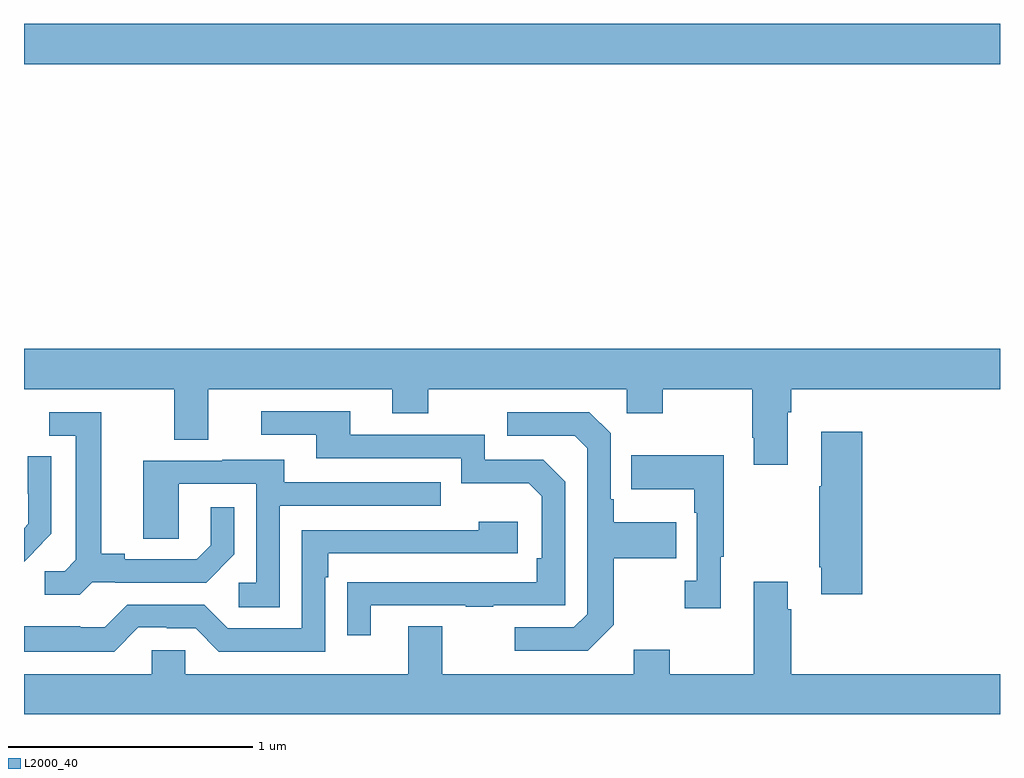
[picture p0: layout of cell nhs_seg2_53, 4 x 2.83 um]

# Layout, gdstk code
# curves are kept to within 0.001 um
import gdstk
lib = gdstk.Library(unit=1e-6, precision=1e-09)
def R(c, l, rs):  # rectangles x0, y0, x1, y1
    for r in rs: c.add(gdstk.rectangle(r[:2], r[2:], *l))
def P(c, l, *ps):  # polygons
    for p in ps: c.add(gdstk.Polygon(p, *l))
L2000_40 = (2000, 40)

nhs_seg2_53 = lib.new_cell('nhs_seg2_53')
R(nhs_seg2_53, L2000_40, [(113,613.004,117,613.168)])
P(nhs_seg2_53, L2000_40, [(116.131,611.576),(116.144,611.576),(116.144,611.672),(117,611.672),(117,611.836),(113,611.836),(113,611.672),(113.615,611.672),(113.615,611.464),(113.755,611.464),(113.755,611.672),(114.509,611.672),(114.509,611.573),(114.657,611.573),(114.657,611.672),(115.47,611.672),(115.47,611.573),(115.617,611.573),(115.617,611.672),(115.984,611.672),(115.984,611.473),(115.991,611.473),(115.991,611.361),(116.131,611.361)],
  [(114.421,610.785),(114.811,610.785),(114.811,610.78),(114.923,610.78),(114.923,610.785),(115.218,610.785),(115.218,611.292),(115.128,611.382),(114.888,611.382),(114.888,611.484),(114.337,611.484),(114.337,611.58),(113.973,611.58),(113.973,611.484),(114.197,611.484),(114.197,611.388),(114.792,611.388),(114.792,611.285),(115.069,611.285),(115.122,611.232),(115.122,610.978),(115.102,610.978),(115.102,610.881),(114.325,610.88),(114.325,610.662),(114.421,610.662)],
  [(113.28,610.881),(113.374,610.881),(113.374,610.878),(113.746,610.878),(113.862,610.994),(113.862,611.188),(113.765,611.188),(113.765,611.031),(113.708,610.974),(113.413,610.974),(113.413,610.997),(113.317,610.997),(113.317,611.577),(113.103,611.577),(113.103,611.481),(113.213,611.481),(113.213,610.973),(113.166,610.926),(113.085,610.926),(113.085,610.829),(113.228,610.829)],
  [(115.417,610.705),(115.417,610.978),(115.673,610.978),(115.673,611.125),(115.417,611.125),(115.417,611.221),(115.404,611.221),(115.404,611.49),(115.317,611.577),(114.981,611.577),(114.981,611.481),(115.257,611.481),(115.308,611.43),(115.308,610.749),(115.254,610.695),(115.011,610.695),(115.011,610.599),(115.311,610.599)],
  [(116.435,611.497),(116.267,611.497),(116.267,611.273),(116.26,611.273),(116.26,610.942),(116.267,610.942),(116.267,610.83),(116.435,610.83)],
  [(115.855,610.985),(115.867,610.985),(115.867,611.401),(115.489,611.401),(115.489,611.261),(115.746,611.261),(115.746,611.165),(115.758,611.165),(115.758,610.886),(115.707,610.886),(115.707,610.773),(115.855,610.773)],
  [(113.04,611.004),(113.039,611.005),(113.112,611.078),(113.112,611.396),(113.016,611.396),(113.016,611.242),(113.018,611.242),(113.018,611.12),(113,611.102),(113,610.964)],
  [(114.048,611.193),(114.707,611.193),(114.707,611.289),(114.067,611.289),(114.067,611.383),(113.813,611.383),(113.813,611.379),(113.489,611.379),(113.489,611.059),(113.634,611.059),(113.634,611.283),(113.952,611.283),(113.952,610.878),(113.88,610.878),(113.88,610.777),(114.048,610.777)],
  [(113.469,610.695),(113.585,610.695),(113.585,610.692),(113.703,610.692),(113.799,610.596),(114.234,610.596),(114.234,610.901),(114.247,610.901),(114.247,610.998),(115.024,610.998),(115.024,611.128),(114.863,611.128),(114.863,611.094),(114.138,611.094),(114.138,610.692),(113.835,610.692),(113.739,610.788),(113.424,610.788),(113.331,610.695),(113.231,610.695),(113.231,610.699),(113,610.699),(113,610.595),(113.369,610.595)],
  [(117,610.504),(116.144,610.504),(116.144,610.769),(116.131,610.769),(116.131,610.882),(115.991,610.882),(115.991,610.504),(115.647,610.504),(115.647,610.603),(115.499,610.603),(115.499,610.504),(114.715,610.504),(114.715,610.699),(114.575,610.699),(114.575,610.504),(113.661,610.504),(113.661,610.602),(113.523,610.602),(113.523,610.504),(113,610.504),(113,610.34),(117,610.34)])

lib.write_gds('nhs_seg2_53.gds')
